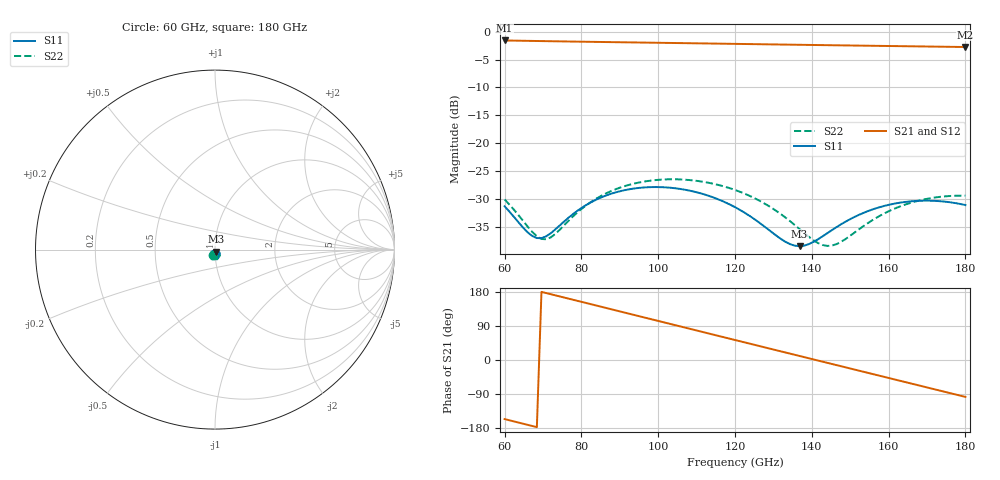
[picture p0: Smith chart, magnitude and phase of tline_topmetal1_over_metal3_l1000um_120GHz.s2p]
#  GHZ S DB R 50
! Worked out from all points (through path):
!   101 points, 60 GHz to 180 GHz, reference 50 ohm
!   highest |S21| = -1.58 dB at 60 GHz (marker M1); lowest = -2.8 dB at 180 GHz (marker M2)
!   group delay of S21, straight-line fit = 6.98 ps
!   lowest |S11| = -38.5 dB at 136.8 GHz (marker M3), VSWR 1.02, Z = 50.5 - j1.11 ohm
!   |S11| at or under -10 dB: start of sweep to end of sweep
!   |S22| runs from -38.4 to -26.5 dB; largest |S21 - S12| = 9.5e-14
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60  -31.33 -100.5  -1.58 -155.9  -1.58 -155.9  -30.11 -107.8
66  -36.01 -83.8  -1.65 -171.1  -1.65 -171.1  -34.97 -98.4
68.4  -37.04 -67.7  -1.68 -177.2  -1.68 -177.2  -36.72 -84.8
69.6  -37.05 -58.9  -1.69 179.8  -1.69 179.8  -37.19 -75.6
72  -36.18 -44.1  -1.72 173.7  -1.72 173.7  -36.92 -56.8
80.4  -31.47 -30.6  -1.81 152.5  -1.81 152.5  -31.61 -34.5
85.2  -29.73 -35.1  -1.86 140.4  -1.86 140.4  -29.45 -38.4
91.2  -28.45 -44.3  -1.91 125.3  -1.91 125.3  -27.73 -47.7
100.8  -27.90 -61.8  -2.01 101.1  -2.01 101.1  -26.55 -66.3
105.6  -28.21 -70.8  -2.05 89.0  -2.05 89.0  -26.51 -76.1
110.4  -28.89 -79.3  -2.10 76.9  -2.10 76.9  -26.81 -85.8
120  -31.49 -93.1  -2.19 52.8  -2.19 52.8  -28.40 -104.1
128.4  -35.35 -94.3  -2.28 31.7  -2.28 31.7  -31.12 -116.2
133.2  -37.74 -82.9  -2.32 19.7  -2.32 19.7  -33.39 -118.9
136.8  -38.49 -67.0  -2.36 10.6  -2.36 10.6  -35.42 -116.3
140.4  -37.74 -51.9  -2.39 1.6  -2.39 1.6  -37.41 -106.9
144  -36.18 -43.5  -2.43 -7.4  -2.43 -7.4  -38.45 -89.9
146.4  -35.09 -41.3  -2.45 -13.4  -2.45 -13.4  -38.14 -77.9
153.6  -32.48 -44.5  -2.52 -31.4  -2.52 -31.4  -34.82 -60.8
160.8  -30.96 -54.4  -2.58 -49.4  -2.58 -49.4  -31.98 -63.9
170.4  -30.33 -71.0  -2.67 -73.4  -2.67 -73.4  -29.95 -78.1
180  -31.12 -88.1  -2.76 -97.4  -2.76 -97.4  -29.44 -95.4
